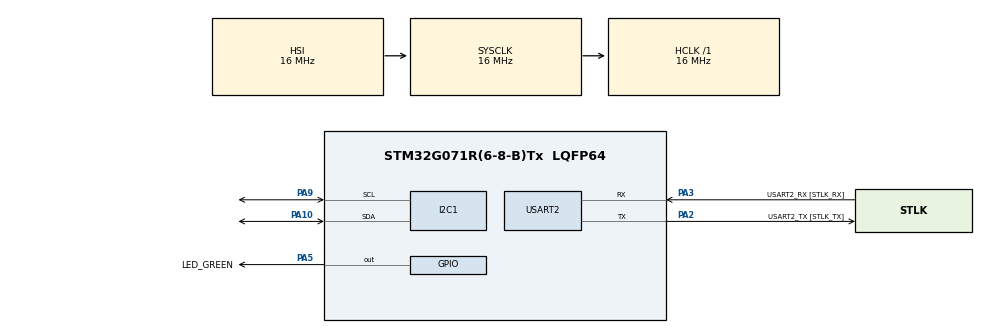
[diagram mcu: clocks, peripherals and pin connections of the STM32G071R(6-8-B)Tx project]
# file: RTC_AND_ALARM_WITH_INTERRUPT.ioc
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Mcu.Family=STM32G0
Mcu.Name=STM32G071R(6-8-B)Tx
Mcu.Package=LQFP64
NVIC.RTC_TAMP_IRQn=true\:0\:0\:false\:false\:true\:true\:true
PA10.GPIO_Pu=GPIO_PULLUP
PA10.GPIO_Speed=GPIO_SPEED_FREQ_VERY_HIGH
PA10.Mode=I2C
PA10.Signal=I2C1_SDA
PA13.GPIO_Label=TMS
PA13.Signal=SYS_SWDIO
PA14-BOOT0.GPIO_Label=TCK
PA14-BOOT0.Signal=SYS_SWCLK
PA2.GPIO_Label=USART2_TX [STLK_TX]
PA2.Mode=Asynchronous
PA2.Signal=USART2_TX
PA3.GPIO_Label=USART2_RX [STLK_RX]
PA3.Mode=Asynchronous
PA3.Signal=USART2_RX
PA5.GPIO_Label=LED_GREEN
PA5.GPIO_Speed=GPIO_SPEED_FREQ_HIGH
PA5.Signal=GPIO_Output
PA9.GPIO_Pu=GPIO_PULLUP
PA9.GPIO_Speed=GPIO_SPEED_FREQ_VERY_HIGH
PA9.Mode=I2C
PA9.Signal=I2C1_SCL
PC13.Signal=SYS_WKUP2
PC14-OSC32_IN\ (PC14).Signal=RCC_OSC32_IN
PC15-OSC32_OUT\ (PC15).Signal=RCC_OSC32_OUT
PF0-OSC_IN\ (PF0).GPIO_Label=MCO
PF0-OSC_IN\ (PF0).Signal=RCC_OSC_IN
ProjectManager.HeapSize=0x200
ProjectManager.StackSize=0x400
ProjectManager.TargetToolchain=STM32CubeIDE
RCC.AHBFreq_Value=16000000
RCC.CortexFreq_Value=16000000
RCC.EXTERNAL_CLOCK_VALUE=12288000
RCC.HCLKFreq_Value=16000000
RCC.HSE_VALUE=8000000
RCC.HSI_VALUE=16000000
RCC.LSE_VALUE=32768
RCC.SYSCLKFreq_VALUE=16000000
RCC.VCOOutputFreq_Value=128000000
RTC.Alarm-Alarm\ A=RTC_ALARM_A
RTC.Seconds_A-Alarm\ A=1
USART2.VirtualMode-Asynchronous=VM_ASYNC
VP_RTC_VS_RTC_Activate.Mode=RTC_Enabled
VP_RTC_VS_RTC_Alarm_A_Intern.Mode=Alarm A
VP_RTC_VS_RTC_Calendar.Mode=RTC_Calendar
VP_SYS_VS_DBSignals.Mode=DisableDeadBatterySignals
board=NUCLEO-G071RB

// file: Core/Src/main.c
/* USER CODE BEGIN Header */
/**
  ******************************************************************************
  * @file           : main.c
  * @brief          : Main program body
  ******************************************************************************
  * @attention
  *
  * <h2><center>&copy; Copyright (c) 2023 STMicroelectronics.
  * All rights reserved.</center></h2>
  *
  * This software component is licensed by ST under BSD 3-Clause license,
  * the "License"; You may not use this file except in compliance with the
  * License. You may obtain a copy of the License at:
  *                        opensource.org/licenses/BSD-3-Clause
  *
  ******************************************************************************
  */
/* USER CODE END Header */
#include "main.h"

/* USER CODE BEGIN Includes */
#include<stdio.h>
#include<string.h>
/* USER CODE END Includes */

I2C_HandleTypeDef hi2c1;

RTC_HandleTypeDef hrtc;

UART_HandleTypeDef huart2;

/* USER CODE BEGIN PV */
char time[10];
char date[10];
char Rx_data[10];
/* USER CODE END PV */

void SystemClock_Config(void);
static void MX_GPIO_Init(void);
static void MX_RTC_Init(void);
static void MX_I2C1_Init(void);
static void MX_USART2_UART_Init(void);

/* USER CODE BEGIN 0 */
void set_time(void){
	  RTC_TimeTypeDef sTime = {0};
	  RTC_DateTypeDef sDate = {0};
	/** Initialize RTC and set the Time and Date
	  */
	  sTime.Hours = 0x0;
	  sTime.Minutes = 0x0;
	  sTime.Seconds = 0x0;
	  sTime.SubSeconds = 0x0;
	  sTime.DayLightSaving = RTC_DAYLIGHTSAVING_NONE;
	  sTime.StoreOperation = RTC_STOREOPERATION_RESET;
	  if (HAL_RTC_SetTime(&hrtc, &sTime, RTC_FORMAT_BCD) != HAL_OK)
	  {
	    Error_Handler();
	  }
	  sDate.WeekDay = RTC_WEEKDAY_MONDAY;
	  sDate.Month = RTC_MONTH_JANUARY;
	  sDate.Date = 0x1;
	  sDate.Year = 0x0;

	  if (HAL_RTC_SetDate(&hrtc, &sDate, RTC_FORMAT_BCD) != HAL_OK)
	  {
	    Error_Handler();
	  }

	  //backup register to store time and date
	 // HAL_RTCEx_BKUPWrite(&hrtc, RTC_BKP_DR1, 0x32f2);
}

void get_time(void)
{
 RTC_DateTypeDef gDate;
 RTC_TimeTypeDef gTime;
/* Get the RTC current Time */
 HAL_RTC_GetTime(&hrtc, &gTime, RTC_FORMAT_BIN);
/* Get the RTC current Date */
 HAL_RTC_GetDate(&hrtc, &gDate, RTC_FORMAT_BIN);

/* Display time Format: hh:mm:ss */
 sprintf((char*)time,"%02d:%02d:%02d\r\n",15+gTime.Hours, 19+gTime.Minutes, gTime.Seconds);
 HAL_UART_Transmit(&huart2, time, strlen((char*)time), HAL_MAX_DELAY);

 //HAL_UART_Transmit(&huart2, "stuck2\r\n", sizeof("stuck2\r\n"), 1000);

 //HAL_UART_Transmit(&huart2, i2cTxData, sizeof(i2cTxData), 1000);

/* Display date Format: dd-mm-yy */
 sprintf((char*)date,"%02d-%02d-%2d\r\n",8+gDate.Date, 9+gDate.Month, 2023 + gDate.Year);
 //HAL_I2C_Master_Receive(&hi2c1, 0, time, strlen((char*)time), HAL_MAX_DELAY);
 HAL_UART_Transmit(&huart2, date, strlen((char*)date), HAL_MAX_DELAY);

}
/* USER CODE END 0 */

int main(void)
{

  /* MCU Configuration--------------------------------------------------------*/

  /* Reset of all peripherals, Initializes the Flash interface and the Systick. */
  HAL_Init();

  /* Configure the system clock */
  SystemClock_Config();

  /* Initialize all configured peripherals */
  MX_GPIO_Init();
  MX_RTC_Init();
  MX_I2C1_Init();
  MX_USART2_UART_Init();
  /* USER CODE BEGIN 2 */
  char rtcData[20];
  /* USER CODE END 2 */

  /* Infinite loop */
  /* USER CODE BEGIN WHILE */
  while (1)
  {
	 get_time();
	 HAL_Delay(100);
	 //char msg[100];

//	  uint8_t deviceAddress = 0x06; //rtc date register address
//
//	  uint8_t dataReceived[10] = "hi \r\n"; // Buffer to store received data

//	  if (HAL_I2C_Master_Receive(&hi2c1, deviceAddress, dataReceived, sizeof(dataReceived), HAL_MAX_DELAY) != HAL_OK) {
//		  Error_Handler();
//	  }
//      HAL_I2C_Master_Transmit(&hi2c1, 0x00,dataReceived, sizeof(dataReceived), 100);
//	  //HAL_UART_Transmit(&huart2, dataReceived, sizeof(dataReceived), 100);
	  //HAL_Delay(100);

	  // Read I2C transmit data register

	  //while (!(hi2c1.Instance->ISR & I2C_ISR_TXE)); // Wait until TXE flag is set

//	  uint8_t i2cTxData = hi2c1.Instance->TXDR; // Read the transmit data register
//
//	  //HAL_I2C_Master_Receive(&hi2c1, 0x04, i2cTxData, sizeof(i2cTxData), HAL_MAX_DELAY);
//
//	  sprintf(msg," hello %s \r\n",i2cTxData);
//      HAL_UART_Transmit(&huart2,msg , sizeof(msg), 1000);
//
//
//	  // Set up and initiate an I2C transmission here
//	   // Replace the following placeholder code with your actual I2C communication code:
////	   uint8_t i2cData[] = {0x01, 0x02, 0x03}; // Example data to transmit
////	   uint8_t i2cDeviceAddress = 0x00; // Replace with the actual I2C device address
////
////	   // Send data to the I2C device
////	   if (HAL_I2C_Master_Transmit(&hi2c1, i2cDeviceAddress, i2cData, sizeof(i2cData), HAL_MAX_DELAY) != HAL_OK) {
////	  	 // Handle the I2C transmission error here
////	  	 HAL_UART_Transmit(&huart2, "oops!", sizeof("oops!"), HAL_MAX_DELAY);
////	   }
//
//
//
//
//	  HAL_Delay(100);
//	  uint8_t dataToSend[] = {0x01, 0x02, 0x03}; // Data to send
//	  uint8_t deviceAddress = 0x00; // Replace with the actual I2C device address
//
//	  if (HAL_I2C_Master_Transmit(&hi2c1, deviceAddress, dataToSend, sizeof(dataToSend), HAL_MAX_DELAY) != HAL_OK) {
//		  Error_Handler();
//	  }
//
//	  // Example: Reading data from an I2C device
//	  uint8_t dataReceived[3]; // Buffer to store received data
//
//	  if (HAL_I2C_Master_Receive(&hi2c1, deviceAddress, dataReceived, sizeof(dataReceived), HAL_MAX_DELAY) != HAL_OK) {
//		  Error_Handler();
//	  }
//
//	  HAL_UART_Transmit(&huart2, dataReceived, sizeof(dataReceived), HAL_MAX_DELAY);
//	  HAL_Delay(100);
//
//	  RTC_TimeTypeDef time;
//	  sprintf(rtcData, "Time: %02d:%02d:%02d\r\n", time.Hours, time.Minutes, time.Seconds);
//	  uint8_t i2cAddress = 0;
//	  if (HAL_I2C_Master_Transmit(&hi2c1, i2cAddress << 1, (uint8_t *)rtcData, strlen(rtcData), HAL_MAX_DELAY) != HAL_OK) {
//	              Error_Handler();
//	  }
//
//	  HAL_UART_Transmit(&huart2, rtcData,strlen((char*)rtcData) , HAL_MAX_DELAY);
//	  HAL_Delay(100);
    /* USER CODE END WHILE */

  }
}

void SystemClock_Config(void)
{
  RCC_OscInitTypeDef RCC_OscInitStruct = {0};
  RCC_ClkInitTypeDef RCC_ClkInitStruct = {0};
  RCC_PeriphCLKInitTypeDef PeriphClkInit = {0};

  /** Configure the main internal regulator output voltage
  */
  HAL_PWREx_ControlVoltageScaling(PWR_REGULATOR_VOLTAGE_SCALE1);
  /** Initializes the RCC Oscillators according to the specified parameters
  * in the RCC_OscInitTypeDef structure.
  */
  RCC_OscInitStruct.OscillatorType = RCC_OSCILLATORTYPE_HSI|RCC_OSCILLATORTYPE_LSI;
  RCC_OscInitStruct.HSIState = RCC_HSI_ON;
  RCC_OscInitStruct.HSIDiv = RCC_HSI_DIV1;
  RCC_OscInitStruct.HSICalibrationValue = RCC_HSICALIBRATION_DEFAULT;
  RCC_OscInitStruct.LSIState = RCC_LSI_ON;
  RCC_OscInitStruct.PLL.PLLState = RCC_PLL_NONE;
  if (HAL_RCC_OscConfig(&RCC_OscInitStruct) != HAL_OK)
  {
    Error_Handler();
  }
  /** Initializes the CPU, AHB and APB buses clocks
  */
  RCC_ClkInitStruct.ClockType = RCC_CLOCKTYPE_HCLK|RCC_CLOCKTYPE_SYSCLK
                              |RCC_CLOCKTYPE_PCLK1;
  RCC_ClkInitStruct.SYSCLKSource = RCC_SYSCLKSOURCE_HSI;
  RCC_ClkInitStruct.AHBCLKDivider = RCC_SYSCLK_DIV1;
  RCC_ClkInitStruct.APB1CLKDivider = RCC_HCLK_DIV1;

  if (HAL_RCC_ClockConfig(&RCC_ClkInitStruct, FLASH_LATENCY_0) != HAL_OK)
  {
    Error_Handler();
  }
  /** Initializes the peripherals clocks
  */
  PeriphClkInit.PeriphClockSelection = RCC_PERIPHCLK_RTC|RCC_PERIPHCLK_USART2
                              |RCC_PERIPHCLK_I2C1;
  PeriphClkInit.Usart2ClockSelection = RCC_USART2CLKSOURCE_PCLK1;
  PeriphClkInit.I2c1ClockSelection = RCC_I2C1CLKSOURCE_PCLK1;
  PeriphClkInit.RTCClockSelection = RCC_RTCCLKSOURCE_LSI;

  if (HAL_RCCEx_PeriphCLKConfig(&PeriphClkInit) != HAL_OK)
  {
    Error_Handler();
  }
}

static void MX_I2C1_Init(void)
{

  hi2c1.Instance = I2C1;
  hi2c1.Init.Timing = 0x00303D5B;
  hi2c1.Init.OwnAddress1 = 0;
  hi2c1.Init.AddressingMode = I2C_ADDRESSINGMODE_7BIT;
  hi2c1.Init.DualAddressMode = I2C_DUALADDRESS_DISABLE;
  hi2c1.Init.OwnAddress2 = 0;
  hi2c1.Init.OwnAddress2Masks = I2C_OA2_NOMASK;
  hi2c1.Init.GeneralCallMode = I2C_GENERALCALL_DISABLE;
  hi2c1.Init.NoStretchMode = I2C_NOSTRETCH_DISABLE;
  if (HAL_I2C_Init(&hi2c1) != HAL_OK)
  {
    Error_Handler();
  }
  /** Configure Analogue filter
  */
  if (HAL_I2CEx_ConfigAnalogFilter(&hi2c1, I2C_ANALOGFILTER_ENABLE) != HAL_OK)
  {
    Error_Handler();
  }
  /** Configure Digital filter
  */
  if (HAL_I2CEx_ConfigDigitalFilter(&hi2c1, 0) != HAL_OK)
  {
    Error_Handler();
  }

}

static void MX_RTC_Init(void)
{

  RTC_TimeTypeDef sTime = {0};
  RTC_DateTypeDef sDate = {0};
  RTC_AlarmTypeDef sAlarm = {0};

  /** Initialize RTC Only
  */
  hrtc.Instance = RTC;
  hrtc.Init.HourFormat = RTC_HOURFORMAT_24;
  hrtc.Init.AsynchPrediv = 127;
  hrtc.Init.SynchPrediv = 255;
  hrtc.Init.OutPut = RTC_OUTPUT_DISABLE;
  hrtc.Init.OutPutRemap = RTC_OUTPUT_REMAP_NONE;
  hrtc.Init.OutPutPolarity = RTC_OUTPUT_POLARITY_HIGH;
  hrtc.Init.OutPutType = RTC_OUTPUT_TYPE_OPENDRAIN;
  hrtc.Init.OutPutPullUp = RTC_OUTPUT_PULLUP_NONE;
  if (HAL_RTC_Init(&hrtc) != HAL_OK)
  {
    Error_Handler();
  }

  /** Initialize RTC and set the Time and Date
  */
  sTime.Hours = 0x0;
  sTime.Minutes = 0x0;
  sTime.Seconds = 0x0;
  sTime.SubSeconds = 0x0;
  sTime.DayLightSaving = RTC_DAYLIGHTSAVING_NONE;
  sTime.StoreOperation = RTC_STOREOPERATION_RESET;
  if (HAL_RTC_SetTime(&hrtc, &sTime, RTC_FORMAT_BCD) != HAL_OK)
  {
    Error_Handler();
  }
  sDate.WeekDay = RTC_WEEKDAY_MONDAY;
  sDate.Month = RTC_MONTH_JANUARY;
  sDate.Date = 0x1;
  sDate.Year = 0x0;

  if (HAL_RTC_SetDate(&hrtc, &sDate, RTC_FORMAT_BCD) != HAL_OK)
  {
    Error_Handler();
  }
  /** Enable the Alarm A
  */
  sAlarm.AlarmTime.Hours = 0x0;
  sAlarm.AlarmTime.Minutes = 0x0;
  sAlarm.AlarmTime.Seconds = 0x1;
  sAlarm.AlarmTime.SubSeconds = 0x0;
  sAlarm.AlarmTime.DayLightSaving = RTC_DAYLIGHTSAVING_NONE;
  sAlarm.AlarmTime.StoreOperation = RTC_STOREOPERATION_RESET;
  sAlarm.AlarmMask = RTC_ALARMMASK_NONE;
  sAlarm.AlarmSubSecondMask = RTC_ALARMSUBSECONDMASK_ALL;
  sAlarm.AlarmDateWeekDaySel = RTC_ALARMDATEWEEKDAYSEL_DATE;
  sAlarm.AlarmDateWeekDay = 0x1;
  sAlarm.Alarm = RTC_ALARM_A;
  if (HAL_RTC_SetAlarm_IT(&hrtc, &sAlarm, RTC_FORMAT_BCD) != HAL_OK)
  {
    Error_Handler();
  }

}

static void MX_USART2_UART_Init(void)
{

  huart2.Instance = USART2;
  huart2.Init.BaudRate = 115200;
  huart2.Init.WordLength = UART_WORDLENGTH_8B;
  huart2.Init.StopBits = UART_STOPBITS_1;
  huart2.Init.Parity = UART_PARITY_NONE;
  huart2.Init.Mode = UART_MODE_TX_RX;
  huart2.Init.HwFlowCtl = UART_HWCONTROL_NONE;
  huart2.Init.OverSampling = UART_OVERSAMPLING_16;
  huart2.Init.OneBitSampling = UART_ONE_BIT_SAMPLE_DISABLE;
  huart2.Init.ClockPrescaler = UART_PRESCALER_DIV1;
  huart2.AdvancedInit.AdvFeatureInit = UART_ADVFEATURE_NO_INIT;
  if (HAL_UART_Init(&huart2) != HAL_OK)
  {
    Error_Handler();
  }
  if (HAL_UARTEx_SetTxFifoThreshold(&huart2, UART_TXFIFO_THRESHOLD_1_8) != HAL_OK)
  {
    Error_Handler();
  }
  if (HAL_UARTEx_SetRxFifoThreshold(&huart2, UART_RXFIFO_THRESHOLD_1_8) != HAL_OK)
  {
    Error_Handler();
  }
  if (HAL_UARTEx_DisableFifoMode(&huart2) != HAL_OK)
  {
    Error_Handler();
  }

}

static void MX_GPIO_Init(void)
{
  GPIO_InitTypeDef GPIO_InitStruct = {0};

  /* GPIO Ports Clock Enable */
  __HAL_RCC_GPIOC_CLK_ENABLE();
  __HAL_RCC_GPIOF_CLK_ENABLE();
  __HAL_RCC_GPIOA_CLK_ENABLE();

  /*Configure GPIO pin Output Level */
  HAL_GPIO_WritePin(LED_GREEN_GPIO_Port, LED_GREEN_Pin, GPIO_PIN_RESET);

  /*Configure GPIO pin : LED_GREEN_Pin */
  GPIO_InitStruct.Pin = LED_GREEN_Pin;
  GPIO_InitStruct.Mode = GPIO_MODE_OUTPUT_PP;
  GPIO_InitStruct.Pull = GPIO_NOPULL;
  GPIO_InitStruct.Speed = GPIO_SPEED_FREQ_HIGH;
  HAL_GPIO_Init(LED_GREEN_GPIO_Port, &GPIO_InitStruct);

}

/* USER CODE BEGIN 4 */
void HAL_RTC_AlarmAEventCallback(RTC_HandleTypeDef *hrtc) {
  RTC_AlarmTypeDef sAlarm;
  HAL_RTC_GetAlarm(hrtc,&sAlarm,RTC_ALARM_A,FORMAT_BIN);
  if(sAlarm.AlarmTime.Seconds>58) {
    sAlarm.AlarmTime.Seconds=0;
  }else{
    sAlarm.AlarmTime.Seconds=sAlarm.AlarmTime.Seconds+1;
  }
    while(HAL_RTC_SetAlarm_IT(hrtc, &sAlarm, FORMAT_BIN)!=HAL_OK){}
    HAL_GPIO_TogglePin(GPIOA, GPIO_PIN_5);
}
/* USER CODE END 4 */

void Error_Handler(void)
{
  __disable_irq();
  while (1)
  {
  }
}

/************************ (C) COPYRIGHT STMicroelectronics *****END OF FILE****/
